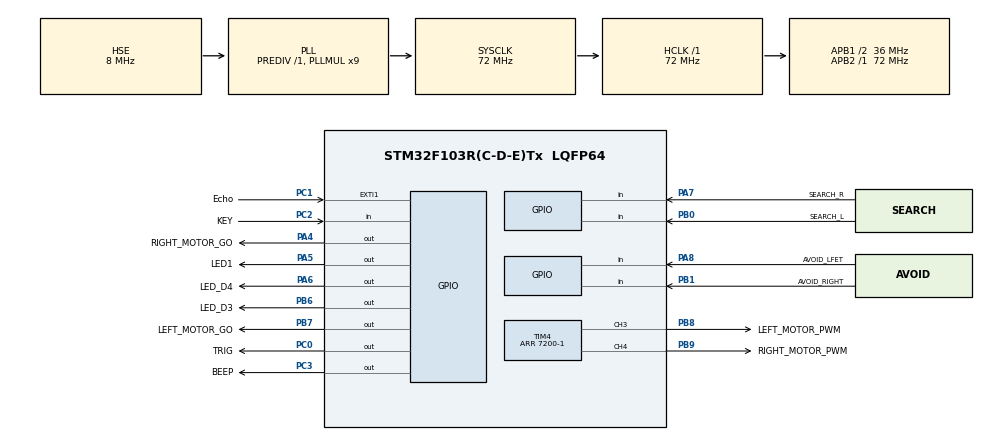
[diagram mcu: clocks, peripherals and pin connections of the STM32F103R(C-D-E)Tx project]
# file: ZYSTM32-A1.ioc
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Mcu.Family=STM32F1
Mcu.Name=STM32F103R(C-D-E)Tx
Mcu.Package=LQFP64
NVIC.EXTI1_IRQn=true\:2\:0\:true\:false\:true\:true\:true
NVIC.PriorityGroup=NVIC_PRIORITYGROUP_4
NVIC.TIM2_IRQn=true\:0\:0\:false\:false\:true\:true\:true
PA13.Mode=Serial_Wire
PA13.Signal=SYS_JTMS-SWDIO
PA14.Mode=Serial_Wire
PA14.Signal=SYS_JTCK-SWCLK
PA4.GPIO_Label=RIGHT_MOTOR_GO
PA4.GPIO_Speed=GPIO_SPEED_FREQ_HIGH
PA4.Signal=GPIO_Output
PA5.GPIO_Label=LED1
PA5.GPIO_Speed=GPIO_SPEED_FREQ_HIGH
PA5.PinState=GPIO_PIN_RESET
PA5.Signal=GPIO_Output
PA6.GPIO_Label=LED_D4
PA6.GPIO_Speed=GPIO_SPEED_FREQ_HIGH
PA6.Signal=GPIO_Output
PA7.GPIO_Label=SEARCH_R
PA7.GPIO_PuPd=GPIO_PULLUP
PA7.Signal=GPIO_Input
PA8.GPIO_Label=AVOID_LFET
PA8.GPIO_PuPd=GPIO_PULLUP
PA8.Signal=GPIO_Input
PB0.GPIO_Label=SEARCH_L
PB0.GPIO_PuPd=GPIO_PULLUP
PB0.Signal=GPIO_Input
PB1.GPIO_Label=AVOID_RIGHT
PB1.GPIO_PuPd=GPIO_PULLUP
PB1.Signal=GPIO_Input
PB6.GPIO_Label=LED_D3
PB6.Signal=GPIO_Output
PB7.GPIO_Label=LEFT_MOTOR_GO
PB7.GPIO_Speed=GPIO_SPEED_FREQ_HIGH
PB7.Signal=GPIO_Output
PB8.GPIO_Label=LEFT_MOTOR_PWM
PB8.GPIO_Speed=GPIO_SPEED_FREQ_HIGH
PB8.Signal=S_TIM4_CH3
PB9.GPIO_Label=RIGHT_MOTOR_PWM
PB9.GPIO_Speed=GPIO_SPEED_FREQ_HIGH
PB9.Signal=S_TIM4_CH4
PC0.GPIO_Label=TRIG
PC0.GPIO_Speed=GPIO_SPEED_FREQ_HIGH
PC0.Signal=GPIO_Output
PC1.GPIO_Label=Echo
PC1.GPIO_ModeDefaultEXTI=GPIO_MODE_IT_RISING
PC1.Signal=GPXTI1
PC2.GPIO_Label=KEY
PC2.GPIO_PuPd=GPIO_PULLDOWN
PC2.Signal=GPIO_Input
PC3.GPIO_Label=BEEP
PC3.GPIO_Speed=GPIO_SPEED_FREQ_HIGH
PC3.Signal=GPIO_Output
PD0-OSC_IN.Mode=HSE-External-Oscillator
PD0-OSC_IN.Signal=RCC_OSC_IN
PD1-OSC_OUT.Mode=HSE-External-Oscillator
PD1-OSC_OUT.Signal=RCC_OSC_OUT
ProjectManager.HeapSize=0x500
ProjectManager.StackSize=0x800
ProjectManager.TargetToolchain=STM32CubeIDE
RCC.AHBFreq_Value=72000000
RCC.APB1CLKDivider=RCC_HCLK_DIV2
RCC.APB1Freq_Value=36000000
RCC.APB1TimFreq_Value=72000000
RCC.APB2Freq_Value=72000000
RCC.APB2TimFreq_Value=72000000
RCC.HCLKFreq_Value=72000000
RCC.PLLMUL=RCC_PLL_MUL9
RCC.PLLSourceVirtual=RCC_PLLSOURCE_HSE
RCC.SYSCLKFreq_VALUE=72000000
RCC.SYSCLKSource=RCC_SYSCLKSOURCE_PLLCLK
RCC.USBFreq_Value=72000000
SH.S_TIM4_CH3.0=TIM4_CH3,PWM Generation3 CH3
SH.S_TIM4_CH4.0=TIM4_CH4,PWM Generation4 CH4
TIM2.Period=5000
TIM2.Prescaler=7200-1
TIM4.AutoReloadPreload=TIM_AUTORELOAD_PRELOAD_DISABLE
TIM4.Channel-PWM\ Generation3\ CH3=TIM_CHANNEL_3
TIM4.Channel-PWM\ Generation4\ CH4=TIM_CHANNEL_4
TIM4.OCMode_PWM-PWM\ Generation3\ CH3=TIM_OCMODE_PWM2
TIM4.OCMode_PWM-PWM\ Generation4\ CH4=TIM_OCMODE_PWM2
TIM4.Period=7200-1
VP_TIM2_VS_ClockSourceINT.Mode=Internal
VP_TIM4_VS_ClockSourceINT.Mode=Internal
board=custom

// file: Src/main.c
/* USER CODE BEGIN Header */
/**
  ******************************************************************************
  * @file           : main.c
  * @brief          : Main program body
  ******************************************************************************
  * @attention
  *
  * <h2><center>&copy; Copyright (c) 2022 STMicroelectronics.
  * All rights reserved.</center></h2>
  *
  * This software component is licensed by ST under BSD 3-Clause license,
  * the "License"; You may not use this file except in compliance with the
  * License. You may obtain a copy of the License at:
  *                        opensource.org/licenses/BSD-3-Clause
  *
  ******************************************************************************
  */
/* USER CODE END Header */
#include "main.h"
#include "tim.h"
#include "gpio.h"

/* USER CODE BEGIN Includes */
#include "keyscan.h"
/* USER CODE END Includes */

void SystemClock_Config(void);

/* USER CODE BEGIN 0 */
extern TIM_HandleTypeDef htim4;
/* USER CODE END 0 */

int main(void)
{

  /* MCU Configuration--------------------------------------------------------*/

  /* Reset of all peripherals, Initializes the Flash interface and the Systick. */
  HAL_Init();

  /* Configure the system clock */
  SystemClock_Config();

  /* Initialize all configured peripherals */
  MX_GPIO_Init();
  MX_TIM4_Init();
  MX_TIM2_Init();
  /* USER CODE BEGIN 2 */
  HAL_TIM_PWM_Start(&htim4,TIM_CHANNEL_3);
  HAL_TIM_PWM_Start(&htim4,TIM_CHANNEL_4);
  /* USER CODE END 2 */

  /* Infinite loop */
  /* USER CODE BEGIN WHILE */
  keyscan();
  while (1)
  {
    /* USER CODE END WHILE */

    /* USER CODE BEGIN 3 */
//	HAL_GPIO_WritePin(LED1_GPIO_Port, LED1_Pin, GPIO_PIN_RESET);
//	HAL_Delay(500);
//	HAL_GPIO_WritePin(LED1_GPIO_Port, LED1_Pin, GPIO_PIN_SET);
//	HAL_Delay(500);
//	ZYSTM32_back(70,1000);		//后退1s
//	ZYSTM32_brake(500);		//停止0.5s
//	ZYSTM32_run(70,3000);//前进3s
//	ZYSTM32_brake(500);		//停止0.5s
//
//	ZYSTM32_Left(70,1000);//左转1S
//	ZYSTM32_Right(70,1000);//右转1S
//
//	ZYSTM32_Spin_Right(70,1000);//向右旋转2S
//	ZYSTM32_Spin_Left(70,1000);//向左旋转2S
//	ZYSTM32_brake(500);//停止0.5S

//	SearchRun();	//循迹函数
//	AVoidRun();		//避障函数

	//printf("测到的距离值为： %d\n",UltrasonicWave_StartMeasure());
	if(UltrasonicWave_StartMeasure() < 40)
	{
		ZYSTM32_brake(500);
		ZYSTM32_back(70,1000);
		ZYSTM32_brake(500);
		ZYSTM32_Right(70,500);

		BEEP_SET;
	}
	else
	{
		  ZYSTM32_run(70,1);
		  BEEP_RESET;
	}
  }
  /* USER CODE END 3 */
}

void SystemClock_Config(void)
{
  RCC_OscInitTypeDef RCC_OscInitStruct = {0};
  RCC_ClkInitTypeDef RCC_ClkInitStruct = {0};

  /** Initializes the RCC Oscillators according to the specified parameters
  * in the RCC_OscInitTypeDef structure.
  */
  RCC_OscInitStruct.OscillatorType = RCC_OSCILLATORTYPE_HSE;
  RCC_OscInitStruct.HSEState = RCC_HSE_ON;
  RCC_OscInitStruct.HSEPredivValue = RCC_HSE_PREDIV_DIV1;
  RCC_OscInitStruct.HSIState = RCC_HSI_ON;
  RCC_OscInitStruct.PLL.PLLState = RCC_PLL_ON;
  RCC_OscInitStruct.PLL.PLLSource = RCC_PLLSOURCE_HSE;
  RCC_OscInitStruct.PLL.PLLMUL = RCC_PLL_MUL9;
  if (HAL_RCC_OscConfig(&RCC_OscInitStruct) != HAL_OK)
  {
    Error_Handler();
  }
  /** Initializes the CPU, AHB and APB buses clocks
  */
  RCC_ClkInitStruct.ClockType = RCC_CLOCKTYPE_HCLK|RCC_CLOCKTYPE_SYSCLK
                              |RCC_CLOCKTYPE_PCLK1|RCC_CLOCKTYPE_PCLK2;
  RCC_ClkInitStruct.SYSCLKSource = RCC_SYSCLKSOURCE_PLLCLK;
  RCC_ClkInitStruct.AHBCLKDivider = RCC_SYSCLK_DIV1;
  RCC_ClkInitStruct.APB1CLKDivider = RCC_HCLK_DIV2;
  RCC_ClkInitStruct.APB2CLKDivider = RCC_HCLK_DIV1;

  if (HAL_RCC_ClockConfig(&RCC_ClkInitStruct, FLASH_LATENCY_2) != HAL_OK)
  {
    Error_Handler();
  }
}

/* USER CODE BEGIN 4 */
void delay_us(uint32_t nus)
{
	uint32_t temp;
	SysTick->LOAD = 9 * nus;	//systick 8分频       72MHz/8 = 9MHz
	SysTick->VAL = 0x00;	//清空计数器
	SysTick->CTRL = 0X01;		//使能，减到零是无动作，采用外部时钟源
	do
	{
		temp = SysTick->CTRL;	//读取当前倒计数值
	}while((temp&0x01)&&(!(temp&(1<<16))));//等待时间到达   SysTick->CTRL 的 0位位使能位，16位为count flag  使能位为0，count flag位为1则退出循环
	SysTick->CTRL = 0X00;	//关闭计数器
	SysTick->VAL = 0x00;	//清空计数器
}

void delay_ms(uint32_t nms)
{
	uint32_t temp;
	SysTick->LOAD = 9000 * nms;	//systick 8分频       72MHz/8 = 9MHz
	SysTick->VAL = 0x00;	//清空计数器
	SysTick->CTRL = 0X01;		//使能，减到零是无动作，采用外部时钟源
	do
	{
		temp = SysTick->CTRL;	//读取当前倒计数值
	}while((temp&0x01)&&(!(temp&(1<<16))));//等待时间到达   SysTick->CTRL 的 0位位使能位，16位为count flag  使能位为0，count flag位为1则退出循环
	SysTick->CTRL = 0X00;	//关闭计数器
	SysTick->VAL = 0x00;	//清空计数器
}
/* USER CODE END 4 */

void Error_Handler(void)
{
  __disable_irq();
  while (1)
  {
  }
}

/************************ (C) COPYRIGHT STMicroelectronics *****END OF FILE****/
